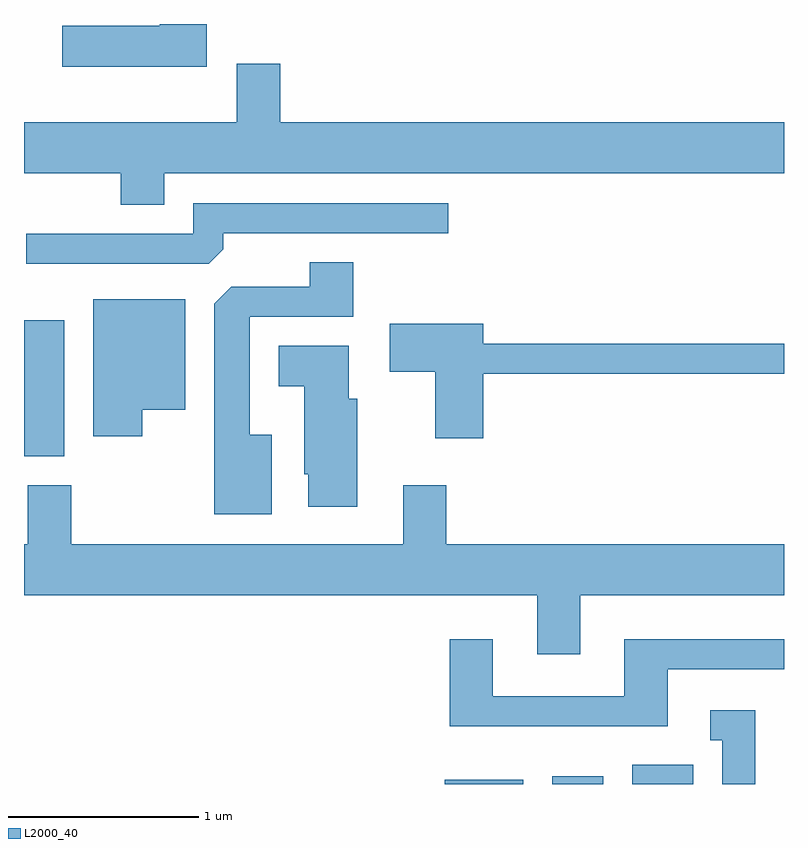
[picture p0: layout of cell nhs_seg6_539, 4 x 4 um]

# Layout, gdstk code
import gdstk
lib = gdstk.Library(unit=1e-6, precision=1e-09)
def R(c, l, rs):  # rectangles x0, y0, x1, y1
    for r in rs: c.add(gdstk.rectangle(r[:2], r[2:], *l))
def P(c, l, *ps):  # polygons
    for p in ps: c.add(gdstk.Polygon(p, *l))
L2000_40 = (2000, 40)

nhs_seg6_539 = lib.new_cell('nhs_seg6_539')
R(nhs_seg6_539, L2000_40, [(203.826,1540.162,204.239,1540.184), (204.391,1540.162,204.659,1540.204), (204.811,1540.162,205.134,1540.264), (201.611,1541.886,201.824,1542.604)])
P(nhs_seg6_539, L2000_40, [(202.574,1544.162),(202.326,1544.162),(202.326,1544.154),(201.811,1544.154),(201.811,1543.936),(202.574,1543.936)],
  [(202.349,1543.376),(205.611,1543.376),(205.611,1543.644),(202.959,1543.644),(202.959,1543.954),(202.731,1543.954),(202.731,1543.644),(201.611,1543.644),(201.611,1543.376),(202.121,1543.376),(202.121,1543.211),(202.349,1543.211)],
  [(202.659,1542.977),(202.659,1543.061),(203.843,1543.061),(203.843,1543.219),(202.501,1543.219),(202.501,1543.059),(201.623,1543.059),(201.623,1542.901),(202.584,1542.901)],
  [(202.914,1541.999),(202.799,1541.999),(202.799,1542.621),(203.344,1542.621),(203.344,1542.909),(203.116,1542.909),(203.116,1542.779),(202.702,1542.779),(202.611,1542.689),(202.611,1541.581),(202.914,1541.581)],
  [(202.234,1542.131),(202.459,1542.131),(202.459,1542.714),(201.976,1542.714),(201.976,1541.991),(202.234,1541.991)],
  [(204.029,1542.321),(205.611,1542.321),(205.611,1542.479),(204.029,1542.479),(204.029,1542.584),(203.536,1542.584),(203.536,1542.331),(203.776,1542.331),(203.776,1541.981),(204.029,1541.981)],
  [(203.364,1542.189),(203.319,1542.189),(203.319,1542.469),(202.951,1542.469),(202.951,1542.256),(203.086,1542.256),(203.086,1541.791),(203.106,1541.791),(203.106,1541.621),(203.364,1541.621)],
  [(204.539,1541.156),(205.611,1541.156),(205.611,1541.424),(203.834,1541.424),(203.834,1541.734),(203.606,1541.734),(203.606,1541.424),(201.859,1541.424),(201.859,1541.734),(201.631,1541.734),(201.631,1541.424),(201.611,1541.424),(201.611,1541.156),(204.311,1541.156),(204.311,1540.846),(204.539,1540.846)],
  [(204.999,1540.766),(205.611,1540.766),(205.611,1540.924),(204.771,1540.924),(204.771,1540.624),(204.079,1540.624),(204.079,1540.924),(203.851,1540.924),(203.851,1540.466),(204.999,1540.466)],
  [(205.459,1540.549),(205.223,1540.549),(205.223,1540.391),(205.286,1540.391),(205.286,1540.162),(205.459,1540.162)])

lib.write_gds('nhs_seg6_539.gds')
